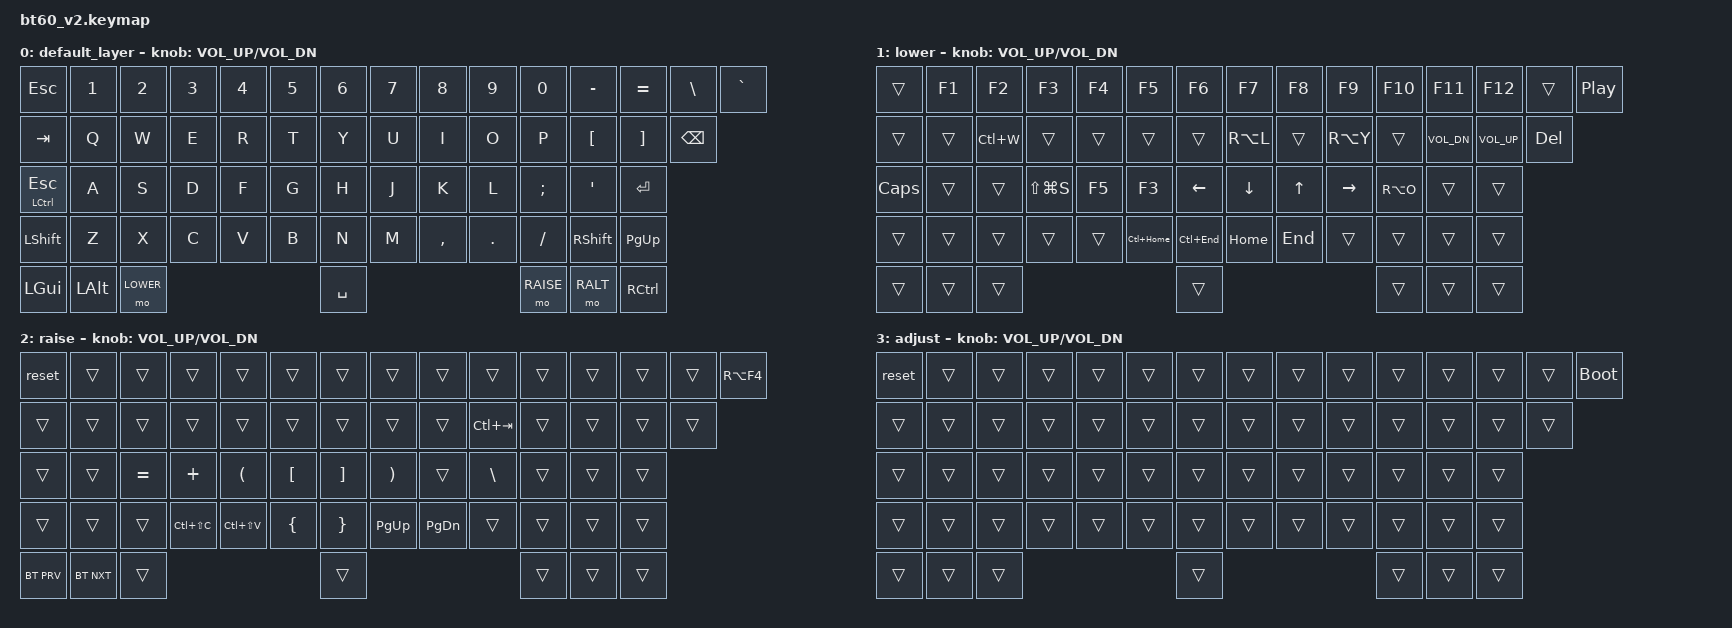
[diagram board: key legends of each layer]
#include <behaviors.dtsi>
#include <dt-bindings/zmk/keys.h>
#include <dt-bindings/zmk/bt.h>

//#define ANSI true
#define HHKB true
//#define ISO true
//#define ALL_1U true
//#define SPLIT_BKSP_RSHFT true

#define DEFAULT 0
#define LOWER   1
#define RAISE   2
#define ADJUST  3

#define TM_SSH RA(O)
#define TM_PRV RA(L)
#define TM_NXT RA(Y)

#define COPY	LC(LS(C))
#define PASTE	LC(LS(V))
#define FX_NXT	LC(TAB)
#define SNIP	LS(LG(S))

/ {
	zmk,matrix_transform = &hhkb_transform;

	keymap {
		compatible = "zmk,keymap";
		default_layer {
			bindings = <
				&kp ESC       &kp N1     &kp N2     &kp N3    &kp N4   &kp N5   &kp N6     &kp N7    &kp N8      &kp N9      &kp N0       &kp MINUS   &kp EQUAL   &kp BSLH   &kp GRAVE
				&kp TAB         &kp Q      &kp W      &kp E     &kp R    &kp T    &kp Y      &kp U     &kp I       &kp O       &kp  P     &kp LBKT    &kp RBKT    &kp BSPC
				&mt LCTRL ESC   &kp A      &kp S      &kp D     &kp F    &kp G    &kp H      &kp J     &kp K       &kp L       &kp SEMI   &kp SQT     &kp RET
				&kp LSHFT       &kp Z      &kp X      &kp C     &kp V    &kp B    &kp N      &kp M     &kp COMMA   &kp DOT     &kp FSLH                 &kp RSHFT   &kp PG_UP
				&kp LGUI        &kp LALT   &mo LOWER                              &kp SPACE                        &mo RAISE   &mo RALT   &kp RCTL
				>;
			sensor-bindings = <&inc_dec_kp C_VOL_UP C_VOL_DN>;
		};

		lower {
			bindings = <
				&trans      &kp F1    &kp F2     &kp F3      &kp F4   &kp F5       &kp F6       &kp F7      &kp F8     &kp F9      &kp F10    &kp F11       &kp F12        &trans     &kp C_PP
				&trans     &trans     &kp LC(W)  &trans      &trans   &trans       &trans       &kp TM_PRV  &trans     &kp TM_NXT  &trans     &kp C_VOL_DN  &kp C_VOL_UP   &kp DEL
				&kp CLCK    &trans    &trans     &kp SNIP    &kp F5   &kp F3       &kp LEFT     &kp DOWN    &kp UP     &kp RIGHT   &kp TM_SSH &trans        &trans
				&trans      &trans    &trans     &trans      &trans   &kp LC(HOME) &kp LC(END)  &kp HOME    &kp END    &trans      &trans     &trans        &trans
				&trans      &trans    &trans                                           &trans                                      &trans     &trans        &trans
				>;
			sensor-bindings = <&inc_dec_kp C_VOL_UP C_VOL_DN>;
		};

		raise {
			bindings = <
				&reset      &trans       &trans     &trans      &trans      &trans     &trans     &trans    &trans    &trans     &trans     &trans     &trans      &trans     &kp RA(F4)
				&trans      &trans       &trans     &trans      &trans      &trans     &trans     &trans    &trans    &kp FX_NXT &trans     &trans     &trans      &trans
				&trans      &trans       &kp EQUAL  &kp PLUS    &kp LPAR    &kp LBKT   &kp RBKT   &kp RPAR  &trans    &kp BSLH   &trans     &trans     &trans
				&trans      &trans       &trans     &kp COPY    &kp PASTE   &kp LBRC   &kp RBRC   &kp PG_UP &kp PG_DN &trans     &trans     &trans     &trans
				&bt BT_PRV  &bt BT_NXT   &trans                                        &trans                                    &trans     &trans     &trans
			>;
			sensor-bindings = <&inc_dec_kp C_VOL_UP C_VOL_DN>;
		};

		adjust {
			bindings = <
				&reset      &trans       &trans     &trans      &trans     &trans      &trans    &trans    &trans    &trans     &trans     &trans    &trans      &trans      &bootloader
				&trans      &trans       &trans     &trans      &trans     &trans      &trans    &trans    &trans    &trans     &trans     &trans    &trans      &trans
				&trans      &trans       &trans     &trans      &trans     &trans      &trans    &trans    &trans    &trans     &trans     &trans    &trans
				&trans      &trans       &trans     &trans      &trans     &trans      &trans    &trans    &trans    &trans     &trans     &trans    &trans
				&trans      &trans       &trans                                        &trans                                   &trans     &trans    &trans
			>;
			sensor-bindings = <&inc_dec_kp C_VOL_UP C_VOL_DN>;
		};
	};
};

/ {
	conditional_layers {
		compatible = "zmk,conditional-layers";
		tri_layer {
			if-layers = <LOWER RAISE>;
			then-layer = <ADJUST>;
		};
	};
};
// vim: ft=c noet ts=2 sw=2 sts=2
